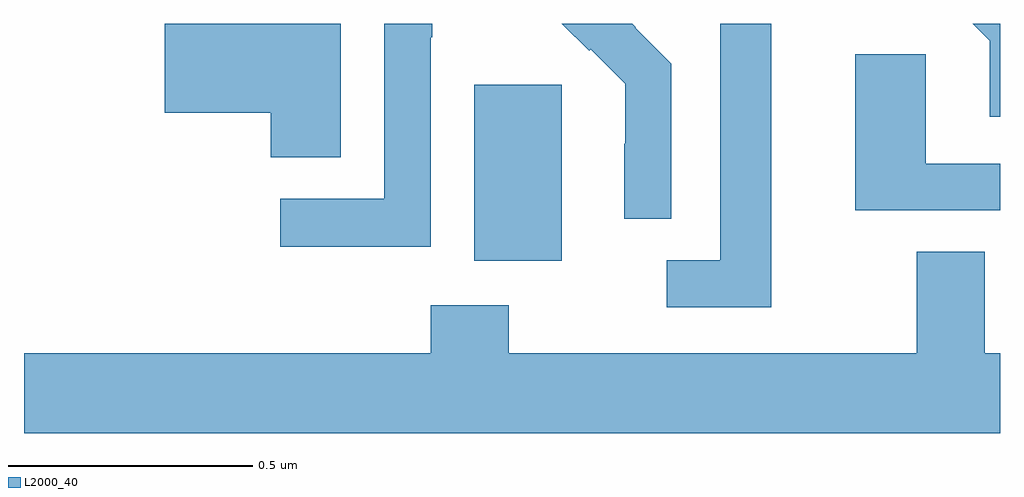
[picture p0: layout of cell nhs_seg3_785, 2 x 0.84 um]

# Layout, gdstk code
import gdstk
lib = gdstk.Library(unit=1e-6, precision=1e-09)
def R(c, l, rs):  # rectangles x0, y0, x1, y1
    for r in rs: c.add(gdstk.rectangle(r[:2], r[2:], *l))
def P(c, l, *ps):  # polygons
    for p in ps: c.add(gdstk.Polygon(p, *l))
L2000_40 = (2000, 40)

nhs_seg3_785 = lib.new_cell('nhs_seg3_785')
R(nhs_seg3_785, L2000_40, [(120.923,723.914,121.102,724.275)])
P(nhs_seg3_785, L2000_40, [(120.649,724.4),(120.288,724.4),(120.288,724.217),(120.506,724.217),(120.506,724.126),(120.649,724.126)],
  [(120.834,724.372),(120.837,724.372),(120.837,724.4),(120.738,724.4),(120.738,724.041),(120.525,724.041),(120.525,723.943),(120.834,723.943)],
  [(121.326,724.318),(121.253,724.391),(121.254,724.392),(121.246,724.4),(121.102,724.4),(121.158,724.344),(121.161,724.347),(121.232,724.277),(121.232,724.154),(121.23,724.154),(121.23,724),(121.326,724)],
  [(121.531,724.4),(121.427,724.4),(121.427,723.915),(121.317,723.915),(121.317,723.819),(121.531,723.819)],
  [(122,724.4),(121.944,724.4),(121.979,724.365),(121.979,724.209),(122,724.209)],
  [(122,724.113),(121.848,724.113),(121.848,724.337),(121.703,724.337),(121.703,724.017),(122,724.017)],
  [(122,723.724),(121.969,723.724),(121.969,723.932),(121.829,723.932),(121.829,723.724),(120.993,723.724),(120.993,723.823),(120.833,723.823),(120.833,723.724),(120,723.724),(120,723.56),(122,723.56)])

lib.write_gds('nhs_seg3_785.gds')
